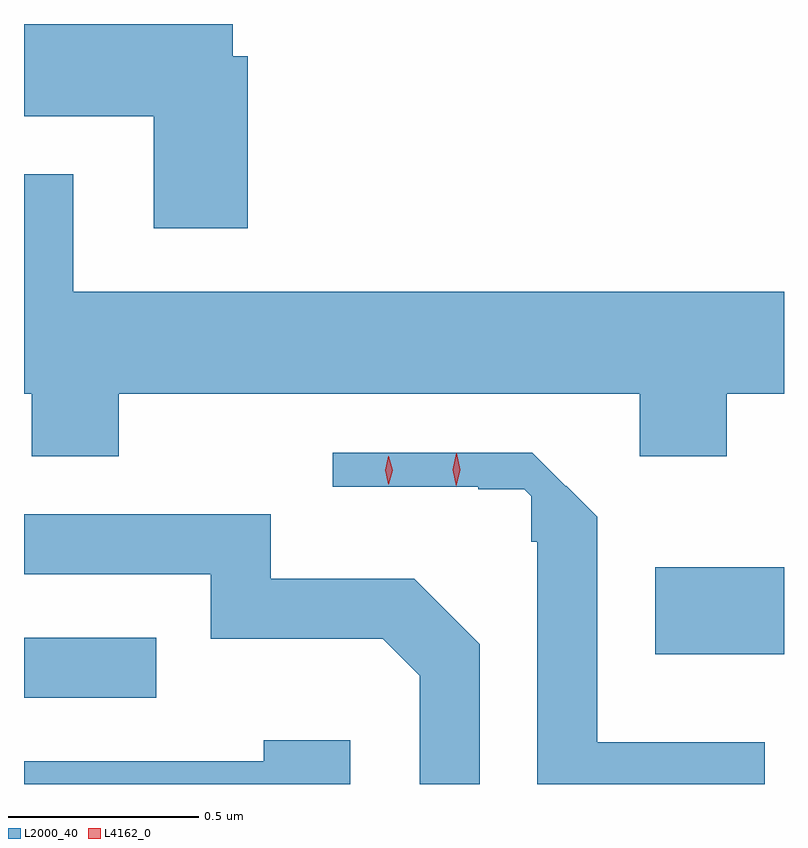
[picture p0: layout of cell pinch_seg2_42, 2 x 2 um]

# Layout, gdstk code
import gdstk
lib = gdstk.Library(unit=1e-6, precision=1e-09)
def R(c, l, rs):  # rectangles x0, y0, x1, y1
    for r in rs: c.add(gdstk.rectangle(r[:2], r[2:], *l))
def P(c, l, *ps):  # polygons
    for p in ps: c.add(gdstk.Polygon(p, *l))
L2000_40 = (2000, 40)
L4162_0 = (4162, 0)

pinch_seg2_42 = lib.new_cell('pinch_seg2_42')
R(pinch_seg2_42, L2000_40, [(1222.39,1040.856,1222.738,1041.014), (1224.051,1040.971,1224.39,1041.199)])
P(pinch_seg2_42, L2000_40, [(1222.979,1042.544),(1222.939,1042.544),(1222.939,1042.629),(1222.391,1042.629),(1222.391,1042.544),(1222.39,1042.544),(1222.39,1042.386),(1222.731,1042.386),(1222.731,1042.091),(1222.979,1042.091)],
  [(1222.639,1041.656),(1224.011,1041.656),(1224.011,1041.491),(1224.239,1041.491),(1224.239,1041.656),(1224.39,1041.656),(1224.39,1041.924),(1222.519,1041.924),(1222.519,1042.234),(1222.39,1042.234),(1222.39,1041.656),(1222.411,1041.656),(1222.411,1041.491),(1222.639,1041.491)],
  [(1224.339,1040.739),(1223.899,1040.739),(1223.899,1041.332),(1223.817,1041.414),(1223.816,1041.413),(1223.728,1041.501),(1223.203,1041.501),(1223.203,1041.411),(1223.586,1041.411),(1223.586,1041.405),(1223.706,1041.405),(1223.725,1041.386),(1223.725,1041.266),(1223.741,1041.266),(1223.741,1040.629),(1224.339,1040.629)],
  [(1223.589,1040.997),(1223.417,1041.169),(1223.039,1041.169),(1223.039,1041.339),(1222.39,1041.339),(1222.39,1041.181),(1222.881,1041.181),(1222.881,1041.011),(1223.334,1041.011),(1223.431,1040.914),(1223.431,1040.629),(1223.589,1040.629)],
  [(1223.249,1040.744),(1223.021,1040.744),(1223.021,1040.689),(1222.39,1040.689),(1222.39,1040.629),(1223.249,1040.629)])
P(pinch_seg2_42, L4162_0, [(1223.527,1041.412),(1223.518,1041.456),(1223.528,1041.5),(1223.528,1041.5),(1223.529,1041.5),(1223.538,1041.456),(1223.528,1041.412),(1223.528,1041.412)],
  [(1223.349,1041.418),(1223.34,1041.455),(1223.349,1041.491),(1223.35,1041.492),(1223.35,1041.491),(1223.36,1041.455),(1223.35,1041.418),(1223.35,1041.418)])

lib.write_gds('pinch_seg2_42.gds')
